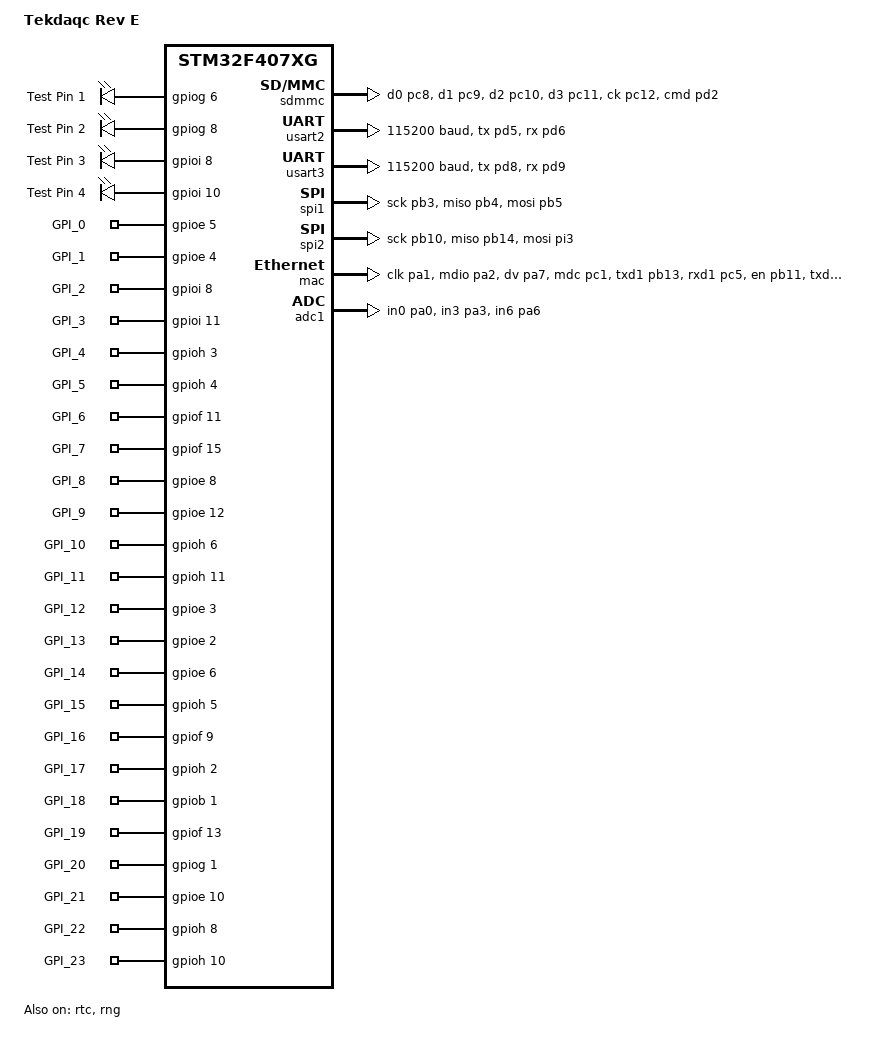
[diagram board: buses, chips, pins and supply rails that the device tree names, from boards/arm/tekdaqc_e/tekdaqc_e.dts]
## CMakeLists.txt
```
cmake_minimum_required(VERSION 3.13.1)

set(BOARD_ROOT ${CMAKE_CURRENT_SOURCE_DIR})
set(BOARD tekdaqc_e)
#set(ZEPHYR_EXTRA_MODULES ${CMAKE_CURRENT_SOURCE_DIR}/modules/tekdaqc) #${CMAKE_CURRENT_SOURCE_DIR}/modules/zephyr-rust)
#set(ZEPHYR_EXTRA_MODULES zephyr-rust/zephyr)

set(civetweb_dir ${CMAKE_CURRENT_SOURCE_DIR}/civetweb)
set(civetweb_src_dir ${civetweb_dir}/src)
set(civetweb_include_dir ${civetweb_dir}/include)

include_directories(${civetweb_include_dir})
include_directories(${CMAKE_CURRENT_SOURCE_DIR}/src)

# Find Zephyr. This also loads Zephyr's build system.
find_package(Zephyr REQUIRED)
project(TekDAQC_Zephyr)

target_sources(app PRIVATE
        src/main.c
        src/dhcp.h
        src/timestamp.h
        src/network.c
        src/network.h
        src/sdcard.c
        src/sdcard.h
        src/web/server.c
        src/web/server.h
        src/web/http_handler.c
        src/web/http_handler.h
        src/web/mime.h
        src/sntp.h
        ${civetweb_src_dir}/libc_extensions.c
        )
```

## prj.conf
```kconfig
# Language Features
#CONFIG_NEWLIB_LIBC=y
#CONFIG_NEWLIB_LIBC_FLOAT_PRINTF=y
CONFIG_HEAP_MEM_POOL_SIZE=4096
CONFIG_MINIMAL_LIBC=y
CONFIG_MINIMAL_LIBC_MALLOC=y
CONFIG_MINIMAL_LIBC_MALLOC_ARENA_SIZE=16384
#CONFIG_CPLUSPLUS=y
#CONFIG_EXCEPTIONS=y
#CONFIG_STD_CPP11=y
#CONFIG_LIB_CPLUSPLUS=y

# zephyr-rust (modules/zephyr-rust)
#CONFIG_RUST=y
#CONFIG_RUST_ALLOC_KMALLOC=y

# Shell configuration
CONFIG_SHELL=y
CONFIG_SHELL_BACKENDS=y
CONFIG_SHELL_BACKEND_SERIAL=y
#CONFIG_SHELL_BACKEND_TELNET=y
#CONFIG_SHELL_TELNET_INIT_LOG_LEVEL_DBG=y
CONFIG_KERNEL_SHELL=y
CONFIG_NET_SHELL=y
CONFIG_ADC_SHELL=y
CONFIG_FILE_SYSTEM_SHELL=y

# Console
#CONFIG_CONSOLE=y
#CONFIG_UART_CONSOLE=y

# Error Handling
#CONFIG_RUNTIME_NMI=y

# Thread Stacks
CONFIG_MAIN_STACK_SIZE=4096
CONFIG_NET_TX_STACK_SIZE=2048
CONFIG_NET_RX_STACK_SIZE=2048
CONFIG_ISR_STACK_SIZE=2048
CONFIG_IDLE_STACK_SIZE=1024

# POSIX API
CONFIG_POSIX_API=y
CONFIG_PTHREAD_IPC=y
CONFIG_POSIX_MQUEUE=y

# File System
CONFIG_DISK_ACCESS=y
CONFIG_FILE_SYSTEM=y
CONFIG_FS_LOG_LEVEL_DBG=y
CONFIG_APP_LINK_WITH_FS=y
CONFIG_FAT_FILESYSTEM_ELM=y
CONFIG_FS_FATFS_MOUNT_MKFS=n
CONFIG_FS_FATFS_EXFAT=y

CONFIG_DISK_ACCESS_STM32_SDMMC=y

# Network
CONFIG_NETWORKING=y
CONFIG_NET_SOCKETS=y
CONFIG_NET_L2_ETHERNET=y
CONFIG_NET_CONFIG_AUTO_INIT=y
CONFIG_NET_CONFIG_INIT_TIMEOUT=30
CONFIG_NET_BUF_RX_COUNT=36
#CONFIG_NET_PKT_RX_COUNT=36
CONFIG_NET_IPV6=n
CONFIG_NET_IPV4=y
CONFIG_NET_DHCPV4=y
CONFIG_NET_UDP=y
CONFIG_NET_TCP=y
CONFIG_NET_TCP_BACKLOG_SIZE=4
CONFIG_NET_HOSTNAME_ENABLE=y
CONFIG_NET_HOSTNAME="tekdaqc"
#CONFIG_NET_HOSTNAME_UNIQUE=y

# Network Libraries
CONFIG_DNS_RESOLVER=y
CONFIG_NET_SOCKETS_POSIX_NAMES=n # This is incompatible with CONFIG_CIVETWEB
CONFIG_NET_CONNECTION_MANAGER=y

# mDNS
CONFIG_MDNS_RESPONDER=y
CONFIG_DNS_SD=y
CONFIG_MDNS_RESPONDER_DNS_SD=y

# SNTP
CONFIG_SNTP=y
#CONFIG_NET_CONFIG_CLOCK_SNTP_INIT=y # Not using this because we are using DHCP
#CONFIG_NET_CONFIG_SNTP_INIT_SERVER="time.nist.gov"

# General config
CONFIG_CIVETWEB=y
#CONFIG_TINYCBOR=y #Not compatible with CONFIG_MINIMAL_LIBC
#CONFIG_CBOR_FLOATING_POINT=y
#CONFIG_CBOR_PRETTY_PRINTING=y
CONFIG_JSON_LIBRARY=y

# Peripherals
# SPI
CONFIG_SPI=y
CONFIG_SPI_ASYNC=y
#CONFIG_SPI_STM32_INTERRUPT=y
#CONFIG_SPI_STM32_DMA=y

# I2C
CONFIG_I2C=y
CONFIG_I2C_STM32=y

# PWM
CONFIG_PWM=y
CONFIG_PWM_CAPTURE=y
CONFIG_PWM_STM32=y

# ADC
CONFIG_ADC=y
CONFIG_ADC_STM32=y
CONFIG_ADC_ASYNC=y

# DAC
CONFIG_DAC=y
CONFIG_DAC_STM32=y

# Flash
CONFIG_FLASH=y

# RTC
CONFIG_COUNTER=y
CONFIG_COUNTER_LOG_LEVEL_DBG=y
#CONFIG_COUNTER_RTC_STM32=y
CONFIG_COUNTER_RTC_STM32_CLOCK_LSI=y
#CONFIG_COUNTER_RTC_STM32_BACKUP_DOMAIN_RESET=y

#TekDAQC
#CONFIG_ADC_ADS125X=y
#CONFIG_ADC_ADS125X_INIT_PRIORITY=80
#CONFIG_ADC_ADS125X_ACQUISITION_THREAD_STACK_SIZE=512
#CONFIG_ADC_ADS125X_ACQUISITION_THREAD_PRIO=0

#CONFIG_ADC_MCP320X=y
#CONFIG_ADC_MCP320X_INIT_PRIORITY=80
#CONFIG_ADC_MCP320X_ACQUISITION_THREAD_STACK_SIZE=512
#CONFIG_ADC_MCP320X_ACQUISITION_THREAD_PRIO=0

CONFIG_FPU=y
CONFIG_FP_HARDABI=y

#CONFIG_DEBUG=y
#CONFIG_DEBUG_INFO=y
#CONFIG_STACK_USAGE=y
#CONFIG_STACK_SENTINEL=y
#CONFIG_EARLY_CONSOLE=y
#CONFIG_ASSERT=y
#CONFIG_ASSERT_VERBOSE=y
#CONFIG_NO_OPTIMIZATIONS=y
#CONFIG_ASSERT_LEVEL=2
#CONFIG_EXCEPTION_STACK_TRACE=y
CONFIG_OPENOCD_SUPPORT=y

# Log configuration
CONFIG_LOG=y
CONFIG_LOG_PRINTK=y
CONFIG_STDOUT_CONSOLE=y
CONFIG_LOG_MODE_IMMEDIATE=y
CONFIG_LOG_BACKEND_UART=y
# CONFIG_LOG_BACKEND_SWO is not set

# Logging levels filtering
#CONFIG_LOG_DEFAULT_LEVEL=3
#CONFIG_LOG_OVERRIDE_LEVEL=0
#CONFIG_LOG_MAX_LEVEL=4

# Prepend non-hexdump log message with function name
CONFIG_LOG_FUNC_NAME_PREFIX_DBG=y
CONFIG_LOG_IMMEDIATE_CLEAN_OUTPUT=y
#CONFIG_LOG_BACKEND_SHOW_COLOR=y
#CONFIG_LOG_BACKEND_FORMAT_TIMESTAMP=y
#CONFIG_LOG_DOMAIN_ID=0

#CONFIG_SOC_LOG_LEVEL_INF=y
#CONFIG_ARCH_LOG_LEVEL_INF=y
#CONFIG_MPU_LOG_LEVEL_INF=y
CONFIG_KERNEL_LOG_LEVEL_INF=y
#CONFIG_UART_CONSOLE_LOG_LEVEL_INF=y
#CONFIG_CLOCK_CONTROL_LOG_LEVEL_INF=y
#CONFIG_GPIO_LOG_LEVEL_INF=y
#CONFIG_FLASH_LOG_LEVEL_DBG=y
#CONFIG_DAC_LOG_LEVEL_DBG=y
#CONFIG_ADC_LOG_LEVEL_DBG=y
#CONFIG_PWM_LOG_LEVEL_DBG=y
#CONFIG_SPI_LOG_LEVEL_DBG=y
#CONFIG_I2C_LOG_LEVEL_DBG=y
#CONFIG_SNTP_LOG_LEVEL_DBG=y

#CONFIG_NET_LOG=y
#CONFIG_NET_CONFIG_LOG_LEVEL_DBG=y
#CONFIG_ETHERNET_LOG_LEVEL_DBG=y
#CONFIG_NET_DHCPV4_LOG_LEVEL_DBG=y
#CONFIG_NET_IF_LOG_LEVEL_DBG=y
#CONFIG_NET_BUF_LOG=y
#CONFIG_NET_BUF_LOG_LEVEL_DBG=y
#CONFIG_NET_BUF_SIMPLE_LOG=y
#CONFIG_NET_BUF_POOL_USAGE=y
#CONFIG_NET_L2_ETHERNET_LOG_LEVEL_DBG=y
#CONFIG_NET_CORE_LOG_LEVEL_DBG=y
#CONFIG_SNTP_LOG_LEVEL_DBG=y
```

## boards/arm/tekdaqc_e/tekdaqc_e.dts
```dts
/dts-v1/;
#include <st/f4/stm32f407Xg.dtsi>
#include <st/f4/stm32f407i(e-g)tx-pinctrl.dtsi>

/ {
  model = "Tekdaqc Rev E";
  compatible = "tk,tekdaqc_e";

  chosen {
    zephyr,console = &usart3;
    zephyr,shell-uart = &usart3;
    zephyr,sram = &sram0;
    zephyr,flash = &flash0;
  };

  soc {
    sdmmc: sdmmc@40012C00 {
      compatible = "st,stm32-sdmmc";
      reg = <0x40012C00 0x3000>;
      label = "SDMMC0";
      clocks = <&rcc STM32_CLOCK_BUS_APB2 0x00000800>;
      pinctrl-0 = <&sdmmc_d0_pc8
                     &sdmmc_d1_pc9
                     &sdmmc_d2_pc10
                     &sdmmc_d3_pc11
                     &sdmmc_ck_pc12
                     &sdmmc_cmd_pd2>;
      status = "okay";
    };
  };

  leds {
    compatible = "gpio-leds";
    test_pin_1: led_1 {
      gpios = <&gpiog 6 GPIO_ACTIVE_HIGH>;
      label = "Test Pin 1";
    };
    test_pin_2: led_2 {
      gpios = <&gpiog 8 GPIO_ACTIVE_HIGH>;
      label = "Test Pin 2";
    };
    test_pin_3: led_3 {
      gpios = <&gpioi 8 GPIO_ACTIVE_HIGH>;
      label = "Test Pin 3";
    };
    test_pin_4: led_4 {
      gpios = <&gpioi 10 GPIO_ACTIVE_HIGH>;
      label = "Test Pin 4";
    };
  };

  gpio_keys {
    compatible = "gpio-keys";
    gpi_0: input_0 {
      label = "GPI_0";
      gpios = <&gpioe 5 GPIO_ACTIVE_HIGH>;
    };
    gpi_1: input_1 {
      label = "GPI_1";
      gpios = <&gpioe 4 GPIO_ACTIVE_HIGH>;
    };
    gpi_2: input_2 {
      label = "GPI_2";
      gpios = <&gpioi 8 GPIO_ACTIVE_HIGH>;
    };
    gpi_3: input_3 {
      label = "GPI_3";
      gpios = <&gpioi 11 GPIO_ACTIVE_HIGH>;
    };
    gpi_4: input_4 {
      label = "GPI_4";
      gpios = <&gpioh 3 GPIO_ACTIVE_HIGH>;
    };
    gpi_5: input_5 {
      label = "GPI_5";
      gpios = <&gpioh 4 GPIO_ACTIVE_HIGH>;
    };
    gpi_6: input_6 {
      label = "GPI_6";
      gpios = <&gpiof 11 GPIO_ACTIVE_HIGH>;
    };
    gpi_7: input_7 {
      label = "GPI_7";
      gpios = <&gpiof 15 GPIO_ACTIVE_HIGH>;
    };

    gpi_8: input_8 {
      label = "GPI_8";
      gpios = <&gpioe 8 GPIO_ACTIVE_HIGH>;
    };
    gpi_9: input_9 {
      label = "GPI_9";
      gpios = <&gpioe 12 GPIO_ACTIVE_HIGH>;
    };
    gpi_10: input_10 {
      label = "GPI_10";
      gpios = <&gpioh 6 GPIO_ACTIVE_HIGH>;
    };
    gpi_11: input_11 {
      label = "GPI_11";
      gpios = <&gpioh 11 GPIO_ACTIVE_HIGH>;
    };
    gpi_12: input_12 {
      label = "GPI_12";
      gpios = <&gpioe 3 GPIO_ACTIVE_HIGH>;
    };
    gpi_13: input_13 {
      label = "GPI_13";
      gpios = <&gpioe 2 GPIO_ACTIVE_HIGH>;
    };
    gpi_14: input_14 {
      label = "GPI_14";
      gpios = <&gpioe 6 GPIO_ACTIVE_HIGH>;
    };
    gpi_15: input_15 {
      label = "GPI_15";
      gpios = <&gpioh 5 GPIO_ACTIVE_HIGH>;
    };

    gpi_16: input_16 {
      label = "GPI_16";
      gpios = <&gpiof 9 GPIO_ACTIVE_HIGH>;
    };
    gpi_17: input_17 {
      label = "GPI_17";
      gpios = <&gpioh 2 GPIO_ACTIVE_HIGH>;
    };
    gpi_18: input_18 {
      label = "GPI_18";
      gpios = <&gpiob 1 GPIO_ACTIVE_HIGH>;
    };
    gpi_19: input_19 {
      label = "GPI_19";
      gpios = <&gpiof 13 GPIO_ACTIVE_HIGH>;
    };
    gpi_20: input_20 {
      label = "GPI_20";
      gpios = <&gpiog 1 GPIO_ACTIVE_HIGH>;
    };
    gpi_21: input_21 {
      label = "GPI_21";
      gpios = <&gpioe 10 GPIO_ACTIVE_HIGH>;
    };
    gpi_22: input_22 {
      label = "GPI_22";
      gpios = <&gpioh 8 GPIO_ACTIVE_HIGH>;
    };
    gpi_23: input_23 {
      label = "GPI_23";
      gpios = <&gpioh 10 GPIO_ACTIVE_HIGH>;
    };
  };
};

&usart2 {
  pinctrl-0 = <&usart2_tx_pd5 &usart2_rx_pd6>;
  current-speed = <115200>;
  status = "okay";
};

&usart3 {
  pinctrl-0 = <&usart3_tx_pd8 &usart3_rx_pd9>;
  current-speed = <115200>;
  status = "okay";
};

&rtc { status = "okay"; };

&rng { status = "okay"; };

&spi1 {
  pinctrl-0 = <&spi1_sck_pb3 &spi1_miso_pb4 &spi1_mosi_pb5>;
  status = "okay";
};

&spi2 {
  pinctrl-0 = <&spi2_sck_pb10 &spi2_miso_pb14 &spi2_mosi_pi3>;
  status = "okay";
};

&mac {
  pinctrl-0 = <&eth_ref_clk_pa1
                 &eth_mdio_pa2
                 &eth_crs_dv_pa7
                 &eth_mdc_pc1
                 &eth_txd1_pb13
                 &eth_rxd1_pc5
                 &eth_tx_en_pb11
                 &eth_txd0_pg13
                 &eth_rxd0_pc4>;
  status = "okay";
};

&pinctrl {
  sdmmc_d0_pc8: sdmmc_d0_pc8 {
    pinmux = <STM32_PINMUX('C', 8, AF12)>;
    slew-rate = "very-high-speed";
  };
  sdmmc_d1_pc9: sdmmc_d1_pc9 {
    pinmux = <STM32_PINMUX('C', 9, AF12)>;
    slew-rate = "very-high-speed";
  };
  sdmmc_d2_pc10: sdmmc_d2_pc10 {
    pinmux = <STM32_PINMUX('C', 10, AF12)>;
    slew-rate = "very-high-speed";
  };
  sdmmc_d3_pc11: sdmmc_d3_pc11 {
    pinmux = <STM32_PINMUX('C', 11, AF12)>;
    slew-rate = "very-high-speed";
  };
  sdmmc_ck_pc12: sdmmc_ck_pc12 {
    pinmux = <STM32_PINMUX('C', 12, AF12)>;
    slew-rate = "very-high-speed";
  };
  sdmmc_cmd_pd2: sdmmc_cmd_pd2 {
    pinmux = <STM32_PINMUX('D', 2, AF12)>;
    slew-rate = "very-high-speed";
  };
};

&adc1 {
  pinctrl-0 = <&adc1_in0_pa0 &adc1_in3_pa3 &adc1_in6_pa6>;
  status = "okay";
};
```

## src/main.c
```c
#include <stdio.h>
#include "sdcard.h"
#include "network.h"

#include <logging/log.h>
LOG_MODULE_REGISTER(main, LOG_LEVEL_DBG);

void main() {
  LOG_DBG("Starting main.");

  /*LOG_DBG("Configuring logging timestamp.");
  configure_logging_timestamp();*/

  LOG_DBG("Initializing sdcard.");
  initialize_disk_access();

  LOG_DBG("Initializing network.");
  initialize_network();
}
```

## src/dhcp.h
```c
#ifndef TEKDAQC_ZEPHYR_DHCP_H
#define TEKDAQC_ZEPHYR_DHCP_H
#include <logging/log.h>
#include <net/net_context.h>
#include <net/net_core.h>
#include <net/net_if.h>
#include <net/net_mgmt.h>
#include "sntp.h"

static struct net_mgmt_event_callback mgmt_cb;

static void handler(struct net_mgmt_event_callback *cb, uint32_t mgmt_event,
                    struct net_if *iface) {
  LOG_MODULE_DECLARE(network);
  int i = 0;

  if (mgmt_event != NET_EVENT_IPV4_ADDR_ADD) {
    return;
  }

  for (i = 0; i < NET_IF_MAX_IPV4_ADDR; i++) {
    char buf[NET_IPV4_ADDR_LEN];

    if (iface->config.ip.ipv4->unicast[i].addr_type != NET_ADDR_DHCP) {
      continue;
    }

    LOG_INF("IPv4 address: %s",
            log_strdup(net_addr_ntop(
                AF_INET, &iface->config.ip.ipv4->unicast[i].address.in_addr,
                buf, sizeof(buf))));
    LOG_INF("Lease time: %u seconds", iface->config.dhcpv4.lease_time);
    LOG_INF("Subnet: %s",
            log_strdup(net_addr_ntop(AF_INET, &iface->config.ip.ipv4->netmask,
                                     buf, sizeof(buf))));
    LOG_INF("Gateway: %s",
            log_strdup(net_addr_ntop(AF_INET, &iface->config.ip.ipv4->gw, buf,
                                     sizeof(buf))));
    init_clock_via_sntp();
  }
}

/**
 * @brief Initialize and start the DHCP system
 */
void initialize_dhcp() {
  LOG_MODULE_DECLARE(network);
  LOG_INF("Starting DHCPv4 client");

  net_mgmt_init_event_callback(&mgmt_cb, handler, NET_EVENT_IPV4_ADDR_ADD);
  net_mgmt_add_event_callback(&mgmt_cb);

  struct net_if *iface = net_if_get_default();
  net_dhcpv4_start(iface);
}

#endif // TEKDAQC_ZEPHYR_DHCP_H
```

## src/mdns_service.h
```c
#ifndef TEKDAQC_ZEPHYR_MDNS_SERVICE_H
#define TEKDAQC_ZEPHYR_MDNS_SERVICE_H

#include <net/dns_sd.h>
#include <sys/socket.h>
#include <posix/netinet/in.h>
#include <arpa/inet.h>
#include <unistd.h>
#include <string.h>
#include <zephyr.h>

#include <logging/log.h>

/* A default port of 0 causes bind(2) to request an ephemeral port */
#define DEFAULT_PORT 0

static void respond(int fd) {
  static const char msg[] = "Bonjour, Zephyr world!\n";

  send(fd, msg, sizeof(msg), 0);
}

/* This is mainly here to bind to a port to get service advertisement
 * to work.. but since we're already here we might as well do something
 * useful.
 */
void mdns_service(void) {
  LOG_MODULE_DECLARE(network);
  int r;
  int server_fd;
  int client_fd;
  socklen_t len;
  void *addrp;
  uint16_t *portp;
  struct sockaddr client_addr;
  char addrstr[INET6_ADDRSTRLEN];
  uint8_t line[64];

  static struct sockaddr server_addr;

#if DEFAULT_PORT == 0
  /* The advanced use case: ephemeral port */
#if defined(CONFIG_NET_IPV6)
  DNS_SD_REGISTER_SERVICE(zephyr, CONFIG_NET_HOSTNAME, "_zephyr", "_tcp",
                          "local", DNS_SD_EMPTY_TXT,
                          &((struct sockaddr_in6 *)&server_addr)->sin6_port);
#elif defined(CONFIG_NET_IPV4)
  DNS_SD_REGISTER_SERVICE(zephyr, CONFIG_NET_HOSTNAME, "_zephyr", "_tcp",
                          "local", DNS_SD_EMPTY_TXT,
                          &((struct sockaddr_in *)&server_addr)->sin_port);
#endif
#else
  /* The simple use case: fixed port */
  DNS_SD_REGISTER_TCP_SERVICE(zephyr, CONFIG_NET_HOSTNAME, "_zephyr", "local",
                              DNS_SD_EMPTY_TXT, DEFAULT_PORT);
#endif

  if (IS_ENABLED(CONFIG_NET_IPV6)) {
    net_sin6(&server_addr)->sin6_family = AF_INET6;
    net_sin6(&server_addr)->sin6_addr = in6addr_any;
    net_sin6(&server_addr)->sin6_port = sys_cpu_to_be16(DEFAULT_PORT);
  } else if (IS_ENABLED(CONFIG_NET_IPV4)) {
    net_sin(&server_addr)->sin_family = AF_INET;
    net_sin(&server_addr)->sin_addr.s_addr = htonl(INADDR_ANY);
    net_sin(&server_addr)->sin_port = sys_cpu_to_be16(DEFAULT_PORT);
  } else {
    __ASSERT(false, "Neither IPv6 nor IPv4 are enabled");
  }

  r = socket(server_addr.sa_family, SOCK_STREAM, 0);
  if (r == -1) {
    NET_DBG("socket() failed (%d)", errno);
    return;
  }

  server_fd = r;
  NET_DBG("server_fd is %d", server_fd);

  r = bind(server_fd, &server_addr, sizeof(server_addr));
  if (r == -1) {
    NET_DBG("bind() failed (%d)", errno);
    return;
  }

  if (server_addr.sa_family == AF_INET6) {
    addrp = &net_sin6(&server_addr)->sin6_addr;
    portp = &net_sin6(&server_addr)->sin6_port;
  } else {
    addrp = &net_sin(&server_addr)->sin_addr;
    portp = &net_sin(&server_addr)->sin_port;
  }

  inet_ntop(server_addr.sa_family, addrp, addrstr, sizeof(addrstr));
  NET_DBG("bound to [%s]:%u", log_strdup(addrstr), ntohs(*portp));

  r = listen(server_fd, 1);
  if (r == -1) {
    NET_DBG("listen() failed (%d)", errno);
    return;
  }

#pragma clang diagnostic push
#pragma ide diagnostic ignored "EndlessLoop"
  while (true) {
    len = sizeof(client_addr);
    r = accept(server_fd, (struct sockaddr *)&client_addr, &len);
    if (r == -1) {
      NET_DBG("accept() failed (%d)", errno);
      continue;
    }

    client_fd = r;

    inet_ntop(server_addr.sa_family, addrp, addrstr, sizeof(addrstr));
    NET_DBG("accepted connection from [%s]:%u", log_strdup(addrstr),
            ntohs(*portp));

    /* send a banner */
    respond(client_fd);

    while (true) {
      /* echo 1 line at a time */
      r = recv(client_fd, line, sizeof(line), 0);
      if (r == -1) {
        NET_DBG("recv() failed (%d)", errno);
        close(client_fd);
        break;
      }
      len = r;

      r = send(client_fd, line, len, 0);
      if (r == -1) {
        NET_DBG("send() failed (%d)", errno);
        close(client_fd);
        break;
      }
    }
  }
#pragma clang diagnostic pop
}

#endif // TEKDAQC_ZEPHYR_MDNS_SERVICE_H
```

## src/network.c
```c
#include "network.h"

#include <logging/log.h>
LOG_MODULE_REGISTER(network, LOG_LEVEL_DBG);

#include "dhcp.h"
#include "web/server.h"

void initialize_network() {
  initialize_dhcp();
  LOG_INF("Starting HTTP Server.");
  start_http_server();
}
```

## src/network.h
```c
#ifndef TEKDAQC_ZEPHYR_NETWORK_H
#define TEKDAQC_ZEPHYR_NETWORK_H

void initialize_network();

#endif // TEKDAQC_ZEPHYR_NETWORK_H
```

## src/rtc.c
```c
#include "rtc.h"
#include <drivers/counter.h>

#include <logging/log.h>
LOG_MODULE_REGISTER(rtc, LOG_LEVEL_DBG);

static const struct device *rtc = NULL;
static bool initialized = false;

error_t rtc_configure() {
  if (!initialized) {
    rtc = device_get_binding(RTC_LABEL);
    if (rtc == NULL) {
      LOG_ERR("No STM32 RTC device available\n");
      return ENODEV;
    }
    counter_start(rtc);
    initialized = true;
  }
  return 0;
}

error_t rtc_set_time(uint64_t seconds) {
  if (!initialized) {
    return EIO;
  }
  return 0;
}
```

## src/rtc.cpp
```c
#include "rtc.h"
#include <drivers/counter.h>

#include <logging/log.h>
LOG_MODULE_REGISTER(rtc, LOG_LEVEL_DBG);

static const struct device *rtc = nullptr;
static bool initialized = false;

error_t rtc_configure() {
  if (!initialized) {
    rtc = device_get_binding(RTC_LABEL);
    if (rtc == nullptr) {
      LOG_ERR("No STM32 RTC device available\n");
      return ENODEV;
    }
    counter_start(rtc);
    initialized = true;
  }
  return 0;
}

error_t rtc_set_time(uint64_t seconds) {
  if (!initialized) {
    return EIO;
  }
  return 0;
}
```

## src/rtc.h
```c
#ifndef TEKDAQC_ZEPHYR_RTC_H
#define TEKDAQC_ZEPHYR_RTC_H

#include <zephyr.h>
#include <device.h>
#include <drivers/counter.h>

#define RTC_0 DT_INST(0, st_stm32_rtc)
#if DT_NODE_HAS_STATUS(RTC_0, okay)
#define RTC_LABEL DT_LABEL(RTC_0)
#else
#error Your devicetree has no enabled nodes with compatible "st,stm32-rtc"
#define RTC_LABEL "<none>"
#endif

error_t rtc_configure();

error_t rtc_set_time(uint64_t seconds);

#endif // TEKDAQC_ZEPHYR_RTC_H
```

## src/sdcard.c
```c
#include "sdcard.h"

#include <disk/disk_access.h>
#include <ff.h>
#include <fs/fs.h>

#include <logging/log.h>
LOG_MODULE_REGISTER(sdcard, LOG_LEVEL_DBG);

static const char *disk_mount_pt = "/SD:";

static FATFS fat_fs;
/* mounting info */
static struct fs_mount_t mp = {
    .type = FS_FATFS,
    .fs_data = &fat_fs,
};

void initialize_disk_access() {
  LOG_INF("Initializing disk access.");
  LOG_DBG("Attempting to check file system.");
  /* raw disk i/o */
  do {
    static const char *disk_pdrv = "SD";
    uint64_t memory_size_mb;
    uint32_t block_count;
    uint32_t block_size;

    int err = disk_access_init(disk_pdrv);
    if (err != 0) {
      LOG_ERR("Failed to initialize disk access: %d", err);
      break;
    }

    err = disk_access_ioctl(disk_pdrv, DISK_IOCTL_GET_SECTOR_COUNT, &block_count);
    if (err) {
      LOG_ERR("Unable to get block count: %d", err);
      break;
    }
    LOG_INF("Block count %lu", block_count);

    err = disk_access_ioctl(disk_pdrv, DISK_IOCTL_GET_SECTOR_SIZE, &block_size);
    if (err) {
      LOG_ERR("Unable to get block size: %d", err);
      break;
    }
    LOG_DBG("Sector size %lu", block_size);

    memory_size_mb = (uint64_t)block_count * block_size;
    LOG_DBG("Memory Size(MB) %lu", (uint32_t)(memory_size_mb >> 20));
  } while (0);

  mp.mnt_point = disk_mount_pt;

  int res = fs_mount(&mp);

  if (res == FR_OK) {
    LOG_INF("Disk mounted.");
  } else {
    LOG_ERR("Error mounting disk.");
  }
}

const char* get_disk_mount() {
  return disk_mount_pt;
}
```

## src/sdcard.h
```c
#ifndef TEKDAQC_ZEPHYR_SDCARD_H
#define TEKDAQC_ZEPHYR_SDCARD_H

void initialize_disk_access();

const char* get_disk_mount();

#endif // TEKDAQC_ZEPHYR_SDCARD_H
```

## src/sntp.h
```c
#ifndef TEKDAQC_ZEPHYR_SNTP_H
#define TEKDAQC_ZEPHYR_SNTP_H

#include <logging/log.h>

#include <arpa/inet.h>
#include <net/sntp.h>
#include <posix/time.h>

#define SNTP_SERVER_ADDR "192.168.0.191" //"time.nist.gov"
#define SNTP_TIMEOUT 3000

void init_clock_via_sntp(void) {
  LOG_MODULE_DECLARE(network);
  LOG_INF("Syncing SNTP Time.");
  struct sntp_time ts;
  struct timespec tspec;
  int res = sntp_simple(SNTP_SERVER_ADDR, SNTP_TIMEOUT, &ts);

  if (res < 0) {
    LOG_ERR("Cannot fetch time using SNTP: %d", res);
    return;
  }

  tspec.tv_sec = ts.seconds;
  tspec.tv_nsec = ((uint64_t)ts.fraction * (1000 * 1000 * 1000)) >> 32;
  res = clock_settime(CLOCK_REALTIME, &tspec);
  if (res < 0) {
    LOG_ERR("Cannot set real clock time: %d", res);
    return;
  }
}

#endif // TEKDAQC_ZEPHYR_SNTP_H
```

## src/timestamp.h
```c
#ifndef TEKDAQC_ZEPHYR_LOGGING_H
#define TEKDAQC_ZEPHYR_LOGGING_H

#include <errno.h>
#include <logging/log.h>
#include <logging/log_ctrl.h>
#include <stdio.h>
#include <stdlib.h>
#include <posix/time.h>
#include <unistd.h>

static uint32_t get_timestamp() {
  LOG_MODULE_DECLARE(timestamp, LOG_LEVEL_DBG);
  struct timespec tspec;
  int res = clock_gettime(CLOCK_REALTIME, &tspec);

  if (res < 0) {
    LOG_ERR("Error retrieving time: %d", res);
    return 0;
  } else {
    return ((uint32_t)(tspec.tv_sec & 0xFFFFFFFF));
    //return tv.tv_usec;
  }
}

static uint32_t get_frequency() { return 1; }//e9; }

void configure_logging_timestamp() {
  /* Timestamp function could be set only from kernel thread. */
  (void)log_set_timestamp_func(get_timestamp, get_frequency());
}

#endif // TEKDAQC_ZEPHYR_LOGGING_H
```

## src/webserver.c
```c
#include "webserver.h"

#include <data/json.h>
#include <posix/pthread.h>
#include <zephyr.h>

#include "civetweb.h"
#include "sdcard.h"

#include <logging/log.h>
LOG_MODULE_REGISTER(webserver, LOG_LEVEL_DBG);

#define HTTP_PORT 80
#define HTTPS_PORT 4443

#define WEBSERVER_ROOT "web"
#define STREAM_BUFFER_SIZE 4096

#define CIVETWEB_MAIN_THREAD_STACK_SIZE CONFIG_MAIN_STACK_SIZE

/* Use smallest possible value of 1024 (see the line 18619 of civetweb.c) */
#define MAX_REQUEST_SIZE_BYTES 1024

K_THREAD_STACK_DEFINE(civetweb_stack, CIVETWEB_MAIN_THREAD_STACK_SIZE);

struct civetweb_info {
  const char *version;
  const char *os;
  uint32_t features;
  const char *feature_list;
  const char *build;
  const char *compiler;
  const char *data_model;
};

#define FIELD(struct_, member_, type_)                                         \
  {                                                                            \
    .field_name = #member_, .field_name_len = sizeof(#member_) - 1,            \
    .offset = offsetof(struct_, member_), .type = type_                        \
  }


static int stream_file(struct mg_connection *conn, const char *path) {
  static char uri_path[4096];
  static struct fs_dirent entry;
  static struct fs_file_t zfp;
  strcpy(uri_path, get_disk_mount());
  strcat(uri_path, "/");
  strcat(uri_path, WEBSERVER_ROOT);
  strcat(uri_path, path);

  int err = fs_stat(uri_path, &entry);
  if (err) {
    LOG_ERR("Unable to retrieve file information: %s. Reason: %d", uri_path, err);
    return 404;
  }
  err = fs_open(&zfp, uri_path, FS_O_READ);
  if (err) {
    LOG_ERR("Failed to open file for read: %s. Reason: %d", uri_path, err);
    return 500;
  }
  static uint8_t buffer[STREAM_BUFFER_SIZE];
  int remaining = entry.size;
  while (remaining > 0) {
    ssize_t count = remaining > STREAM_BUFFER_SIZE ? STREAM_BUFFER_SIZE : remaining;
    err = fs_read(&zfp, buffer, count);
    if (err) {
      LOG_ERR("Failed to read data from file: %s. Reason. %d", uri_path, err);
    }
    err = mg_write(conn, buffer, count);
    if (err > 0) {
      remaining -= err;
    } else if (err == 0) {
      LOG_WRN("Unable to write %d bytes to connection which has already been closed.", count);
      return 500;
    } else {
      LOG_ERR("Error writing %d bytes to connection.", count);
      return 500;
    }
  }
  err = fs_close(&zfp);
  if (err) {
    LOG_ERR("Failed to close file: %s. Reason: %d", uri_path, err);
  }
  return 200;
}

void send_ok(struct mg_connection *conn) {
  mg_printf(conn, "HTTP/1.1 200 OK\r\n"
                  "Content-Type: text/html\r\n"
                  "Connection: close\r\n\r\n");
}

int system_info_handler(struct mg_connection *conn, void *cbdata) {
  static const struct json_obj_descr descr[] = {
      FIELD(struct civetweb_info, version, JSON_TOK_STRING),
      FIELD(struct civetweb_info, os, JSON_TOK_STRING),
      FIELD(struct civetweb_info, feature_list, JSON_TOK_STRING),
      FIELD(struct civetweb_info, build, JSON_TOK_STRING),
      FIELD(struct civetweb_info, compiler, JSON_TOK_STRING),
      FIELD(struct civetweb_info, data_model, JSON_TOK_STRING),
  };

  struct civetweb_info info = {};
  char info_str[1024] = {};
  int ret;
  int size;

  size = mg_get_system_info(info_str, sizeof(info_str));

  ret = json_obj_parse(info_str, size, descr, ARRAY_SIZE(descr), &info);

  send_ok(conn);

  if (ret < 0) {
    mg_printf(conn, "Could not retrieve: %d\n", ret);
    return 500;
  }

  mg_printf(conn, "<html><body>");

  mg_printf(conn, "<h3>Server info</h3>");
  mg_printf(conn, "<ul>\n");
  mg_printf(conn, "<li>host os - %s</li>\n", info.os);
  mg_printf(conn, "<li>server - civetweb %s</li>\n", info.version);
  mg_printf(conn, "<li>compiler - %s</li>\n", info.compiler);
  mg_printf(conn, "<li>board - %s</li>\n", CONFIG_BOARD);
  mg_printf(conn, "</ul>\n");

  mg_printf(conn, "</body></html>\n");

  return 200;
}

int file_handler(struct mg_connection *conn, void *cbdata) {
  const struct mg_request_info* request = mg_get_request_info(conn);
  LOG_DBG("Processing request for file: %s", request->request_uri);
  return stream_file(conn, request->request_uri);
}

void *server_pthread(void *arg) {
  LOG_DBG("Server thread initializing.");
  static const char *const options[] = {"listening_ports",
                                        STRINGIFY(HTTP_PORT),
                                        "num_threads",
                                        "1",
                                        "max_request_size",
                                        STRINGIFY(MAX_REQUEST_SIZE_BYTES),
                                        NULL};

  struct mg_callbacks callbacks;
  struct mg_context *ctx;

  (void)arg;

  memset(&callbacks, 0, sizeof(callbacks));
  ctx = mg_start(&callbacks, 0, (const char **)options);

  if (ctx == NULL) {
    LOG_DBG("Unable to start the server.");
    return 0;
  }

  //mg_set_request_handler(ctx, "/$", hello_world_handler, 0);
  //mg_set_request_handler(ctx, "/info$", system_info_handler, 0);
  mg_set_request_handler(ctx, "/**", file_handler, 0);

  LOG_DBG("Webserver started.");
  return 0;
}

void start_http_server(void) {
  pthread_attr_t civetweb_attr;
  pthread_t civetweb_thread;

  (void)pthread_attr_init(&civetweb_attr);
  (void)pthread_attr_setstack(&civetweb_attr, &civetweb_stack,
                              CIVETWEB_MAIN_THREAD_STACK_SIZE);

  LOG_DBG("Creating HTTP server thread.");
  (void)pthread_create(&civetweb_thread, &civetweb_attr, &server_pthread, 0);
  LOG_DBG("HTTP server thread created.");
}
```
